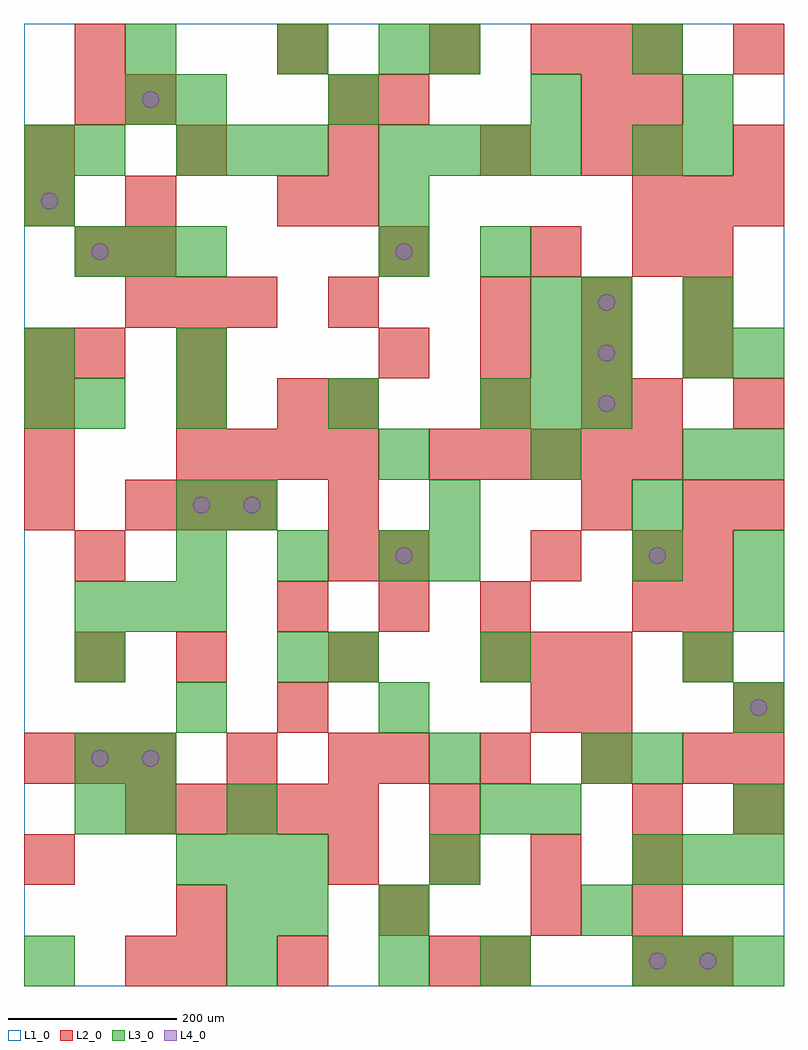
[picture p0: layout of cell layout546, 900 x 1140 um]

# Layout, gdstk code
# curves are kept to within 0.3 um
import gdstk
lib = gdstk.Library(unit=1e-6, precision=1e-09)
def R(c, l, rs):  # rectangles x0, y0, x1, y1
    for r in rs: c.add(gdstk.rectangle(r[:2], r[2:], *l))
def A(c, l, x, y, w, h, nx, ny, dx, dy):  # array of equal rectangles
    R(c, l, [(x+i*dx, y+j*dy, x+i*dx+w, y+j*dy+h) for i in range(nx) for j in range(ny)])
def P(c, l, *ps):  # polygons
    for p in ps: c.add(gdstk.Polygon(p, *l))
L1_0 = (1, 0)
L2_0 = (2, 0)
L3_0 = (3, 0)
L4_0 = (4, 0)

layout546 = lib.new_cell('layout546')
R(layout546, L1_0, [(0,0,900,1140)])
A(layout546, L2_0, 360, 120, 60, 60, 4, 1, 120, 0)
A(layout546, L2_0, 120, 180, 60, 60, 5, 1, 60, 0)
A(layout546, L2_0, 840, 180, 60, 60, 1, 3, 0, 60)
A(layout546, L2_0, 0, 240, 60, 60, 3, 1, 60, 0)
A(layout546, L2_0, 420, 240, 60, 60, 4, 2, 120, 480)
A(layout546, L2_0, 180, 360, 60, 60, 3, 1, 180, 0)
A(layout546, L2_0, 780, 360, 60, 60, 1, 4, 0, 60)
A(layout546, L2_0, 300, 420, 60, 60, 3, 1, 120, 0)
A(layout546, L2_0, 720, 480, 60, 60, 1, 3, 0, 180)
A(layout546, L2_0, 0, 540, 60, 60, 1, 4, 0, 60)
A(layout546, L2_0, 120, 540, 60, 60, 3, 2, 60, 240)
A(layout546, L2_0, 360, 540, 60, 60, 1, 5, 0, 120)
A(layout546, L2_0, 180, 600, 60, 60, 4, 1, 60, 0)
A(layout546, L2_0, 480, 600, 60, 60, 5, 1, 60, 0)
A(layout546, L2_0, 540, 780, 60, 60, 3, 1, 120, 0)
A(layout546, L2_0, 720, 900, 60, 60, 3, 1, 60, 0)
A(layout546, L2_0, 0, 960, 60, 60, 4, 1, 180, 0)
A(layout546, L2_0, 600, 1080, 60, 60, 3, 1, 60, 0)
R(layout546, L2_0, [(120,0,180,60), (180,0,240,60), (300,0,360,60), (480,0,540,60), (540,0,600,60), (720,0,780,60), (780,0,840,60), (180,60,240,120), (420,60,480,120), (600,60,660,120), (720,60,780,120), (0,120,60,180), (480,180,540,240), (720,180,780,240), (240,240,300,300), (360,240,420,300), (300,300,360,360), (600,300,660,360), (660,300,720,360), (60,360,120,420), (600,360,660,420), (660,360,720,420), (720,420,780,480), (60,480,120,540), (360,480,420,540), (420,480,480,540), (600,480,660,540), (660,540,720,600), (840,540,900,600), (180,660,240,720), (300,660,360,720), (540,660,600,720), (660,660,720,720), (840,660,900,720), (60,720,120,780), (180,720,240,780), (60,840,120,900), (120,840,180,900), (420,840,480,900), (600,840,660,900), (780,840,840,900), (0,900,60,960), (120,900,180,960), (300,900,360,960), (660,960,720,1020), (720,960,780,1020), (840,960,900,1020), (60,1020,120,1080), (120,1020,180,1080), (420,1020,480,1080), (660,1020,720,1080), (720,1020,780,1080), (60,1080,120,1140), (300,1080,360,1140), (480,1080,540,1140), (840,1080,900,1140)])
A(layout546, L3_0, 540, 0, 60, 60, 1, 3, 0, 180)
A(layout546, L3_0, 720, 0, 60, 60, 3, 2, 60, 120)
A(layout546, L3_0, 180, 120, 60, 60, 3, 2, 60, 840)
A(layout546, L3_0, 840, 180, 60, 60, 1, 3, 0, 120)
A(layout546, L3_0, 60, 360, 60, 60, 1, 3, 0, 300)
A(layout546, L3_0, 60, 420, 60, 60, 3, 2, 60, 420)
A(layout546, L3_0, 180, 480, 60, 60, 3, 1, 120, 0)
A(layout546, L3_0, 840, 480, 60, 60, 1, 3, 0, 120)
A(layout546, L3_0, 240, 540, 60, 60, 3, 1, 240, 0)
A(layout546, L3_0, 420, 600, 60, 60, 3, 1, 180, 0)
A(layout546, L3_0, 180, 660, 60, 60, 3, 1, 180, 0)
A(layout546, L3_0, 600, 660, 60, 60, 1, 3, 0, 60)
A(layout546, L3_0, 660, 660, 60, 60, 1, 3, 0, 60)
A(layout546, L3_0, 420, 960, 60, 60, 4, 1, 60, 0)
R(layout546, L3_0, [(0,0,60,60), (240,0,300,60), (420,0,480,60), (240,60,300,120), (300,60,360,120), (420,60,480,120), (660,60,720,120), (480,120,540,180), (60,180,120,240), (120,180,180,240), (240,180,300,240), (600,180,660,240), (60,240,120,300), (120,240,180,300), (480,240,540,300), (660,240,720,300), (720,240,780,300), (180,300,240,360), (420,300,480,360), (300,360,360,420), (360,360,420,420), (780,360,840,420), (480,480,540,540), (720,480,780,540), (180,540,240,600), (0,660,60,720), (0,720,60,780), (180,720,240,780), (780,720,840,780), (780,780,840,840), (420,840,480,900), (540,840,600,900), (0,900,60,960), (420,900,480,960), (0,960,60,1020), (720,960,780,1020), (780,960,840,1020), (120,1020,180,1080), (180,1020,240,1080), (360,1020,420,1080), (600,1020,660,1080), (780,1020,840,1080), (120,1080,180,1140), (300,1080,360,1140), (420,1080,480,1140), (480,1080,540,1140), (720,1080,780,1140)])
P(layout546, L4_0, [(40,930),(39.239,933.827),(37.071,937.071),(33.827,939.239),(30,940),(26.173,939.239),(22.929,937.071),(20.761,933.827),(20,930),(20.761,926.173),(22.929,922.929),(26.173,920.761),(30,920),(33.827,920.761),(37.071,922.929),(39.239,926.173)],
  [(100,270),(99.239,273.827),(97.071,277.071),(93.827,279.239),(90,280),(86.173,279.239),(82.929,277.071),(80.761,273.827),(80,270),(80.761,266.173),(82.929,262.929),(86.173,260.761),(90,260),(93.827,260.761),(97.071,262.929),(99.239,266.173)],
  [(100,870),(99.239,873.827),(97.071,877.071),(93.827,879.239),(90,880),(86.173,879.239),(82.929,877.071),(80.761,873.827),(80,870),(80.761,866.173),(82.929,862.929),(86.173,860.761),(90,860),(93.827,860.761),(97.071,862.929),(99.239,866.173)],
  [(160,270),(159.239,273.827),(157.071,277.071),(153.827,279.239),(150,280),(146.173,279.239),(142.929,277.071),(140.761,273.827),(140,270),(140.761,266.173),(142.929,262.929),(146.173,260.761),(150,260),(153.827,260.761),(157.071,262.929),(159.239,266.173)],
  [(160,1050),(159.239,1053.827),(157.071,1057.071),(153.827,1059.239),(150,1060),(146.173,1059.239),(142.929,1057.071),(140.761,1053.827),(140,1050),(140.761,1046.173),(142.929,1042.929),(146.173,1040.761),(150,1040),(153.827,1040.761),(157.071,1042.929),(159.239,1046.173)],
  [(220,570),(219.239,573.827),(217.071,577.071),(213.827,579.239),(210,580),(206.173,579.239),(202.929,577.071),(200.761,573.827),(200,570),(200.761,566.173),(202.929,562.929),(206.173,560.761),(210,560),(213.827,560.761),(217.071,562.929),(219.239,566.173)],
  [(280,570),(279.239,573.827),(277.071,577.071),(273.827,579.239),(270,580),(266.173,579.239),(262.929,577.071),(260.761,573.827),(260,570),(260.761,566.173),(262.929,562.929),(266.173,560.761),(270,560),(273.827,560.761),(277.071,562.929),(279.239,566.173)],
  [(460,510),(459.239,513.827),(457.071,517.071),(453.827,519.239),(450,520),(446.173,519.239),(442.929,517.071),(440.761,513.827),(440,510),(440.761,506.173),(442.929,502.929),(446.173,500.761),(450,500),(453.827,500.761),(457.071,502.929),(459.239,506.173)],
  [(460,870),(459.239,873.827),(457.071,877.071),(453.827,879.239),(450,880),(446.173,879.239),(442.929,877.071),(440.761,873.827),(440,870),(440.761,866.173),(442.929,862.929),(446.173,860.761),(450,860),(453.827,860.761),(457.071,862.929),(459.239,866.173)],
  [(700,690),(699.239,693.827),(697.071,697.071),(693.827,699.239),(690,700),(686.173,699.239),(682.929,697.071),(680.761,693.827),(680,690),(680.761,686.173),(682.929,682.929),(686.173,680.761),(690,680),(693.827,680.761),(697.071,682.929),(699.239,686.173)],
  [(700,750),(699.239,753.827),(697.071,757.071),(693.827,759.239),(690,760),(686.173,759.239),(682.929,757.071),(680.761,753.827),(680,750),(680.761,746.173),(682.929,742.929),(686.173,740.761),(690,740),(693.827,740.761),(697.071,742.929),(699.239,746.173)],
  [(700,810),(699.239,813.827),(697.071,817.071),(693.827,819.239),(690,820),(686.173,819.239),(682.929,817.071),(680.761,813.827),(680,810),(680.761,806.173),(682.929,802.929),(686.173,800.761),(690,800),(693.827,800.761),(697.071,802.929),(699.239,806.173)],
  [(760,30),(759.239,33.827),(757.071,37.071),(753.827,39.239),(750,40),(746.173,39.239),(742.929,37.071),(740.761,33.827),(740,30),(740.761,26.173),(742.929,22.929),(746.173,20.761),(750,20),(753.827,20.761),(757.071,22.929),(759.239,26.173)],
  [(760,510),(759.239,513.827),(757.071,517.071),(753.827,519.239),(750,520),(746.173,519.239),(742.929,517.071),(740.761,513.827),(740,510),(740.761,506.173),(742.929,502.929),(746.173,500.761),(750,500),(753.827,500.761),(757.071,502.929),(759.239,506.173)],
  [(820,30),(819.239,33.827),(817.071,37.071),(813.827,39.239),(810,40),(806.173,39.239),(802.929,37.071),(800.761,33.827),(800,30),(800.761,26.173),(802.929,22.929),(806.173,20.761),(810,20),(813.827,20.761),(817.071,22.929),(819.239,26.173)],
  [(880,330),(879.239,333.827),(877.071,337.071),(873.827,339.239),(870,340),(866.173,339.239),(862.929,337.071),(860.761,333.827),(860,330),(860.761,326.173),(862.929,322.929),(866.173,320.761),(870,320),(873.827,320.761),(877.071,322.929),(879.239,326.173)])

lib.write_gds('layout546.gds')
